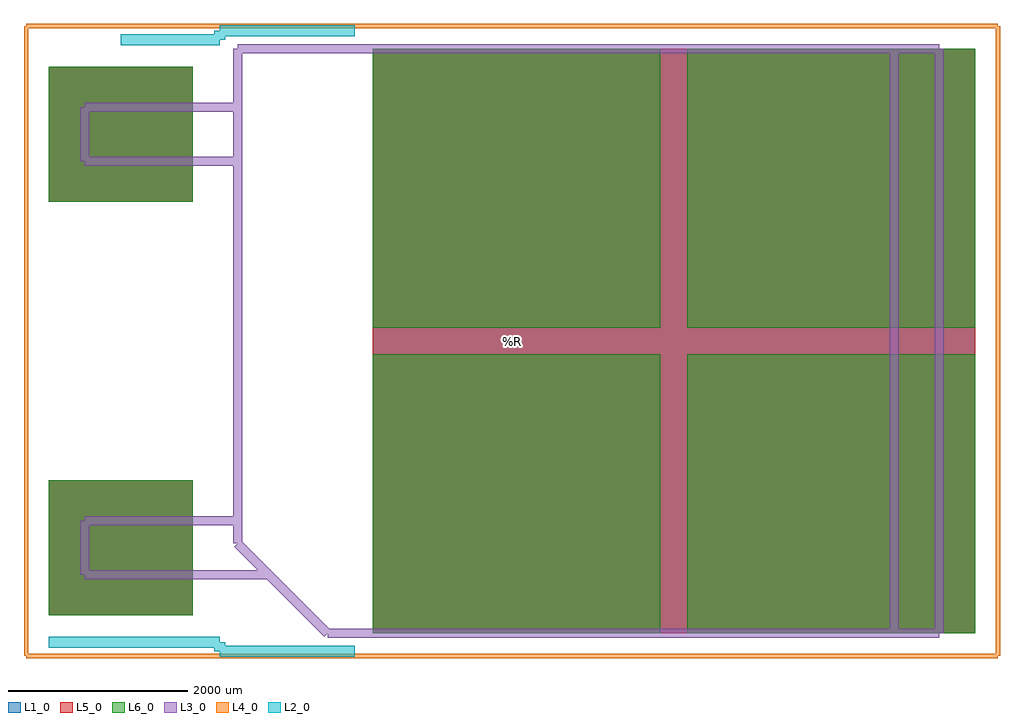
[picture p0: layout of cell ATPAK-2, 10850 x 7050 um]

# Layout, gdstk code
import gdstk
lib = gdstk.Library(unit=1e-6, precision=1e-09)
def R(c, l, rs):  # rectangles x0, y0, x1, y1
    for r in rs: c.add(gdstk.rectangle(r[:2], r[2:], *l))
L1_0 = (1, 0)
L2_0 = (2, 0)
L3_0 = (3, 0)
L4_0 = (4, 0)
L5_0 = (5, 0)
L6_0 = (6, 0)

atpak_2 = lib.new_cell('ATPAK-2')
R(atpak_2, L1_0, [(-1550,-3250,5150,3250), (-5150,-3050,-3550,-1550), (-5150,1550,-3550,3050)])
R(atpak_2, L5_0, [(-1550,-3250,5150,3250), (-5150,-3050,-3550,-1550), (-5150,1550,-3550,3050)])
R(atpak_2, L6_0, [(-1550,-3250,1650,-150), (1950,-3250,5150,-150), (-5150,-3050,-3550,-1550), (-1550,150,1650,3250), (1950,150,5150,3250), (-5150,1550,-3550,3050)])
atpak_2.add(gdstk.FlexPath([(4250,-3250),(4750,-3250)], 100, ends="flush", simple_path=True, layer=3, datatype=0))  # L3_0
atpak_2.add(gdstk.FlexPath([(4750,-3250),(4750,3250)], 100, ends="flush", simple_path=True, layer=3, datatype=0))  # L3_0
atpak_2.add(gdstk.FlexPath([(4750,3250),(4250,3250)], 100, ends="flush", simple_path=True, layer=3, datatype=0))  # L3_0
atpak_2.add(gdstk.FlexPath([(4250,-3250),(4250,3250)], 100, ends="flush", simple_path=True, layer=3, datatype=0))  # L3_0
atpak_2.add(gdstk.FlexPath([(4250,3250),(-3050,3250)], 100, ends="flush", simple_path=True, layer=3, datatype=0))  # L3_0
atpak_2.add(gdstk.FlexPath([(-3050,3250),(-3050,-2250)], 100, ends="flush", simple_path=True, layer=3, datatype=0))  # L3_0
atpak_2.add(gdstk.FlexPath([(-3050,-2250),(-2050,-3250)], 100, ends="flush", simple_path=True, layer=3, datatype=0))  # L3_0
atpak_2.add(gdstk.FlexPath([(-2050,-3250),(4250,-3250)], 100, ends="flush", simple_path=True, layer=3, datatype=0))  # L3_0
atpak_2.add(gdstk.FlexPath([(-2700,-2600),(-4750,-2600)], 100, ends="flush", simple_path=True, layer=3, datatype=0))  # L3_0
atpak_2.add(gdstk.FlexPath([(-4750,-2600),(-4750,-2000)], 100, ends="flush", simple_path=True, layer=3, datatype=0))  # L3_0
atpak_2.add(gdstk.FlexPath([(-4750,-2000),(-3050,-2000)], 100, ends="flush", simple_path=True, layer=3, datatype=0))  # L3_0
atpak_2.add(gdstk.FlexPath([(-3050,2000),(-4750,2000)], 100, ends="flush", simple_path=True, layer=3, datatype=0))  # L3_0
atpak_2.add(gdstk.FlexPath([(-4750,2000),(-4750,2600)], 100, ends="flush", simple_path=True, layer=3, datatype=0))  # L3_0
atpak_2.add(gdstk.FlexPath([(-4750,2600),(-3050,2600)], 100, ends="flush", simple_path=True, layer=3, datatype=0))  # L3_0
atpak_2.add(gdstk.FlexPath([(-1750,-3450),(-3250,-3450)], 120, ends="flush", simple_path=True, layer=2, datatype=0))  # L2_0
atpak_2.add(gdstk.FlexPath([(-3250,-3450),(-3250,-3350)], 120, ends="flush", simple_path=True, layer=2, datatype=0))  # L2_0
atpak_2.add(gdstk.FlexPath([(-3250,-3350),(-5150,-3350)], 120, ends="flush", simple_path=True, layer=2, datatype=0))  # L2_0
atpak_2.add(gdstk.FlexPath([(-1750,3450),(-3250,3450)], 120, ends="flush", simple_path=True, layer=2, datatype=0))  # L2_0
atpak_2.add(gdstk.FlexPath([(-3250,3450),(-3250,3350)], 120, ends="flush", simple_path=True, layer=2, datatype=0))  # L2_0
atpak_2.add(gdstk.FlexPath([(-3250,3350),(-4350,3350)], 120, ends="flush", simple_path=True, layer=2, datatype=0))  # L2_0
atpak_2.add(gdstk.FlexPath([(-5400,-3500),(-5400,3500)], 50, ends="flush", simple_path=True, layer=4, datatype=0))  # L4_0
atpak_2.add(gdstk.FlexPath([(-5400,3500),(5400,3500)], 50, ends="flush", simple_path=True, layer=4, datatype=0))  # L4_0
atpak_2.add(gdstk.FlexPath([(5400,3500),(5400,-3500)], 50, ends="flush", simple_path=True, layer=4, datatype=0))  # L4_0
atpak_2.add(gdstk.FlexPath([(5400,-3500),(-5400,-3500)], 50, ends="flush", simple_path=True, layer=4, datatype=0))  # L4_0
atpak_2.add(gdstk.Label('REF**', (0,-4500), layer=2, texttype=0))
atpak_2.add(gdstk.Label('ATPAK-2', (0,4500), layer=3, texttype=0))
atpak_2.add(gdstk.Label('%R', (0,0), layer=3, texttype=0))

lib.write_gds('ATPAK-2.gds')
